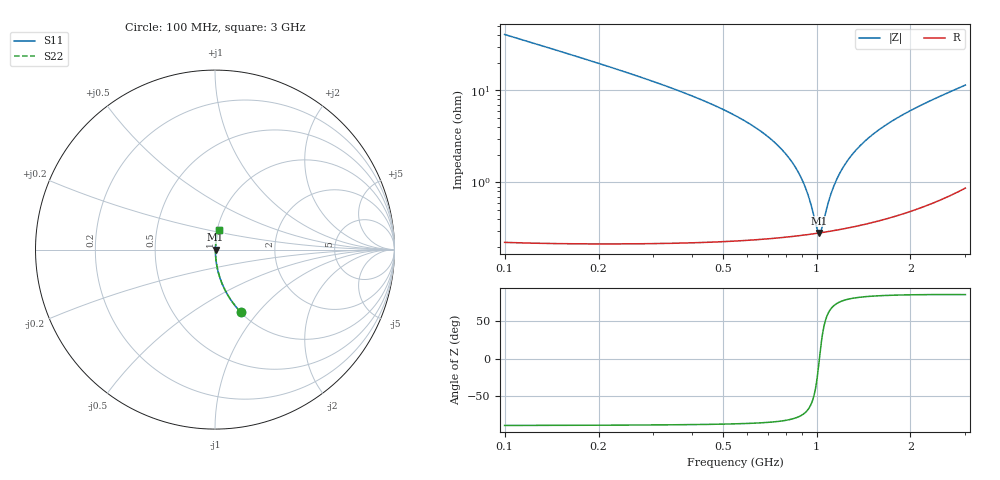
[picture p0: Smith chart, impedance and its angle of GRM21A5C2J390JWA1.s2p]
!Murata Part Number: GRM21A5C2J390JWA1
!These Parameters are Measured in Series Mode Connection
!Data Generated on Mar 30, 2021
!  o--ll--o
!Port1  Port2
!  o------o
!Operation Temp=25[degC], DC Bias Voltage=0[V]
!Freq. Start=100[MHz] Stop=3[GHz] 401[Steps]
# Hz S RI R 50
!Freq.(Hz) S11(Real) S11(Imag) S21(Real) S21(Imag) S12(Real) S12(Imag) S22(Real) S22(Imag)
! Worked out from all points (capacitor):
!   401 points, 100 MHz to 3 GHz, reference 50 ohm
!   read as one part in series: C = 38.9 pF near 114.5 MHz
!   lowest |Z| = 282 mohm at 1.021 GHz (marker M1)
!   series resonance near 1.022 GHz, so ESL is about 620 pH
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1e8  0.1426 -0.3469  0.8574 0.3469  0.8574 0.3469  0.1426 -0.3469
1.6525e8  0.0568 -0.2271  0.9432 0.2271  0.9432 0.2271  0.0568 -0.2271
2.6675e8  0.0221 -0.1396  0.9779 0.1396  0.9779 0.1396  0.0221 -0.1396
3.9725e8  0.00976 -0.0865  0.9902 0.0865  0.9902 0.0865  0.00976 -0.0865
5.8575e8  0.00452 -0.0467  0.9955 0.0467  0.9955 0.0467  0.00452 -0.0467
7.4525e8  0.00314 -0.0257  0.9969 0.0257  0.9969 0.0257  0.00314 -0.0257
8.54e8  0.00281 -0.0144  0.9972 0.0144  0.9972 0.0144  0.00281 -0.0144
9.265e8  0.00275 -0.00785  0.9972 0.00785  0.9972 0.00785  0.00275 -0.00785
9.555e8  0.00276 -0.00537  0.9972 0.00537  0.9972 0.00537  0.00276 -0.00537
9.99e8  0.00279 -0.00179  0.9972 0.00179  0.9972 0.00179  0.00279 -0.00179
1.02075e9  0.00281 -6.23e-05  0.9972 6.23e-05  0.9972 6.23e-05  0.00281 -6.23e-05
1.0425e9  0.00285 0.00163  0.9972 -0.00163  0.9972 -0.00163  0.00285 0.00163
1.0715e9  0.0029 0.00384  0.9971 -0.00384  0.9971 -0.00384  0.0029 0.00384
1.10775e9  0.00298 0.00653  0.997 -0.00653  0.997 -0.00653  0.00298 0.00653
1.144e9  0.00308 0.00914  0.9969 -0.00914  0.9969 -0.00914  0.00308 0.00914
1.23825e9  0.00339 0.0156  0.9966 -0.0156  0.9966 -0.0156  0.00339 0.0156
1.36875e9  0.00396 0.024  0.996 -0.024  0.996 -0.024  0.00396 0.024
1.55e9  0.00495 0.0348  0.995 -0.0348  0.995 -0.0348  0.00495 0.0348
1.7675e9  0.00644 0.047  0.9936 -0.047  0.9936 -0.047  0.00644 0.047
2.03575e9  0.0087 0.0612  0.9913 -0.0612  0.9913 -0.0612  0.0087 0.0612
2.5215e9  0.014 0.0861  0.986 -0.0861  0.986 -0.0861  0.014 0.0861
3e9  0.0211 0.1106  0.9789 -0.1106  0.9789 -0.1106  0.0211 0.1106
